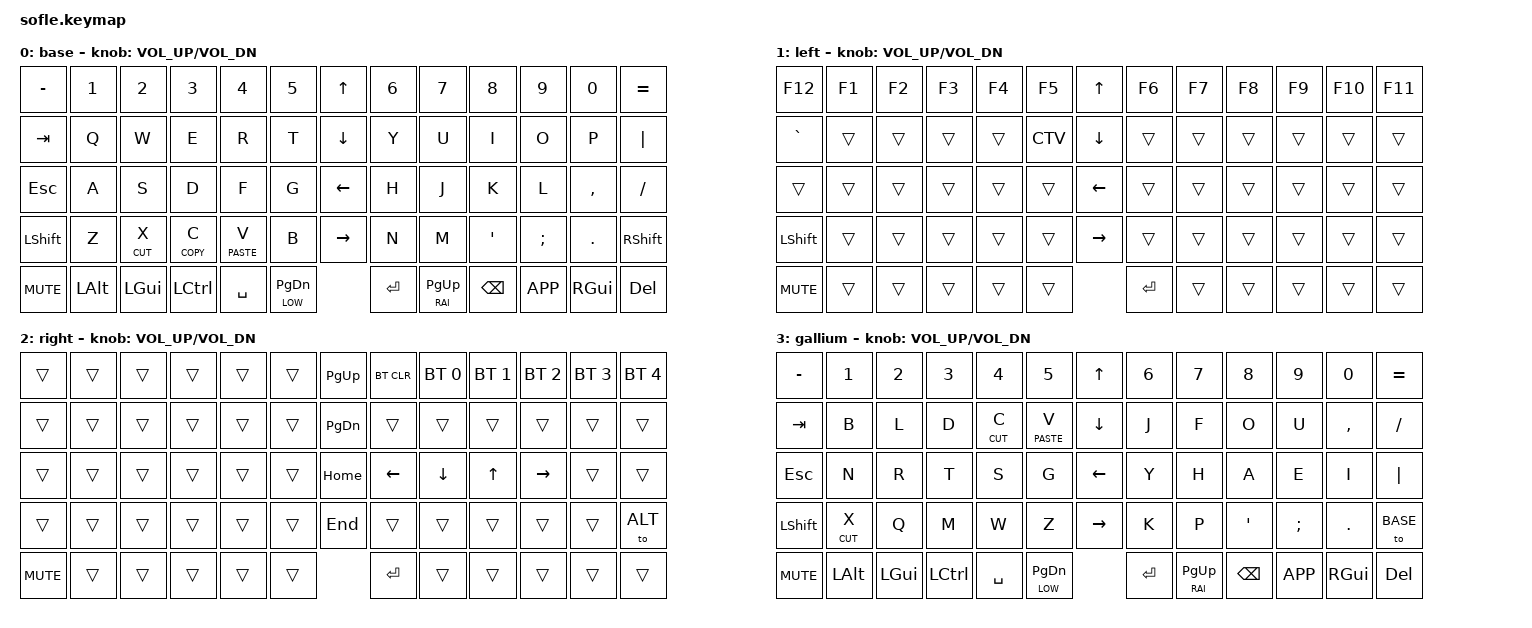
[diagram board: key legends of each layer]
#include <behaviors.dtsi>
#include <dt-bindings/zmk/bt.h>
#include <dt-bindings/zmk/keys.h>
#include <dt-bindings/zmk/outputs.h>
#include <dt-bindings/zmk/rgb.h>


#define BASE 0
#define LOW 1
#define RAI 2
#define ALT 3
/ {
    macros {
        CTV: m_copy_newTab_paste {
            compatible = "zmk,behavior-macro";
            #binding-cells = <0>;
            bindings 
                = <&macro_press &kp LCTRL>
                , <&macro_tap &kp C &kp T &kp V>
                , <&macro_release &kp LCTRL>
                ;

            label = "CTV";
        };
        //Removed because firmware couldn't build, and discovered the editing keycodes in the docs.
        // Adjust to LG() for macOS
        //m_Cut: m_Cut {
        //    compatible = "zmk,behavior-macro";
        //    #binding-cells = <0>;
        //    bindings = <&kp LC(X)>;
        //};
        //m_Copy: m_Copy {
        //    compatible = "zmk,behavior-macro";
        //    #binding-cells = <0>;
        //    bindings = <&kp LC(C)>;
        //};
        //m_Paste: m_Paste {
        //    compatible = "zmk,behavior-macro";
        //    #binding-cells = <0>;
        //    bindings = <&kp LC(V)>;
        //};
    };

    behaviors {
        //Removed because firmware couldn't build, and discovered the editing keycodes in the docs.
        //XHT: b_cut_hold_tap {
        //    compatible = "zmk,behavior-hold-tap";
        //    #binding-cells = <2>;
        //    flavor = "tap-preferred"; // or "balanced"
        //    tapping-term-ms = <200>;
        //    bindings = <&m_Cut>, <&kp>;
        //};
        //CHT: b_copy_hold_tap {
        //    compatible = "zmk,behavior-hold-tap";
        //    #binding-cells = <2>;
        //    flavor = "tap-preferred"; // or "balanced"
        //    tapping-term-ms = <200>;
        //    bindings = <&m_Copy>, <&kp>;
        //};
        //VHT: b_paste_hold_tap {
        //    compatible = "zmk,behavior-hold-tap";
        //    #binding-cells = <2>;
        //    flavor = "tap-preferred"; // or "balanced"
        //    tapping-term-ms = <200>;
        //    bindings = <&m_Paste>, <&kp>;
        //};
    };

    keymap {
        compatible = "zmk,keymap";

        default_layer {
            display-name = "base";
            bindings = <
        //╭──────────┬──────────┬──────────┬──────────┬──────────┬──────────╮               ╭JOY─╮               ╭──────────┬──────────┬──────────┬──────────┬──────────┬──────────╮
        //│  -       │  1       │  2       │  3       │  4       │  5       │               │ UA │               │  6       │  7       │  8       │  9       │  0       │  =       │
            &kp MINUS  &kp N1     &kp N2     &kp N3     &kp N4     &kp N5                &kp UP_ARROW              &kp N6     &kp N7     &kp N8     &kp N9     &kp N0     &kp EQUAL
        //├──────────┼──────────┼──────────┼──────────┼──────────┼──────────┤               ├────┤               ├──────────┼──────────┼──────────┼──────────┼──────────┼──────────┤
        //│ TAB      │  Q       │  w       │  E       │  R       │  T       │               │ DA │               │  Y       │  U       │  I       │  O       │  P       │  |       │
            &kp TAB    &kp Q      &kp W      &kp E      &kp R      &kp T                &kp DOWN_ARROW             &kp Y      &kp U      &kp I      &kp O      &kp P      &kp PIPE
        //├──────────┼──────────┼──────────┼──────────┼──────────┼──────────┤               ├────┤               ├──────────┼──────────┼──────────┼──────────┼──────────┼──────────┤
        //│  ESC     │  A       │  S       │  D       │  F       │  G       │               │ LA │               │  H       │  J       │  K       │  L       │ , <      │ / ?      │
            &kp ESC    &kp A      &kp S      &kp D      &kp F      &kp G                &kp LEFT_ARROW             &kp H      &kp J      &kp K      &kp L      &kp COMMA  &kp FSLH
        //├──────────┼──────────┼──────────┼──────────┼──────────┼──────────┤               ├────┤               ├──────────┼──────────┼──────────┼──────────┼──────────┼──────────┤
        //│ SHIFT    │  Z       │  X       │  C       │  V       │  B       │               │ RA │               │  N       │  M       │ ' "      │ ; :      │ . >      │ SHIFT    │
           &kp LSHIFT  &kp Z    &mt K_CUT X &mt K_COPY C &mt K_PASTE V &kp B            &kp RIGHT_ARROW            &kp N      &kp M      &kp SQT    &kp SEMI   &kp DOT    &kp RSHFT
        //╰──────────┴──────────┼──────────┼──────────┼──────────┼──────────┼──────────╮    ├────┤    ╭──────────┼──────────┼──────────┼──────────┼──────────┼──────────┴──────────╯
        //╭ENCDR_BTN╮           │  LALT    │  LGUI    │  LCTRL   │  SPC     │  PG_DN/L │    │BTN │    │  PG_UP/R │  BSPC    │  Menu    │  RGUI    │  DEL     │
           &kp C_MUTE             &kp LALT   &kp LGUI  &kp LCTRL  &kp SPACE  &lt LOW PG_DN &kp ENTER   &lt RAI PG_UP &kp BSPC &kp K_APP  &kp RGUI   &kp DEL
        //╰─────────╯           ╰──────────┴──────────┴──────────┴──────────┴──────────╯    ╰────╯    ╰──────────┴──────────┴──────────┴──────────┴──────────╯
            >;

            sensor-bindings = <&inc_dec_kp C_VOL_UP C_VOL_DN>;
        };

        lower_layer {
            display-name = "left";
            bindings = <
        //╭──────────┬──────────┬──────────┬──────────┬──────────┬──────────╮               ╭JOY─╮               ╭──────────┬──────────┬──────────┬──────────┬──────────┬──────────╮
        //│  F12     │  F1      │  F2      │  F3      │  F4      │  F5      │               │ UA │               │  F6      │  F7      │  F8      │  F9      │  F10     │  F11
            &kp F12    &kp F1     &kp F2     &kp F3     &kp F4     &kp F5                &kp UP_ARROW              &kp F6     &kp F7     &kp F8     &kp F9     &kp F10    &kp F11     
        //├──────────┼──────────┼──────────┼──────────┼──────────┼──────────┤               ├────┤               ├──────────┼──────────┼──────────┼──────────┼──────────┼──────────┤
        //│  ` ~     │          │          │          │          │ CTV      │               │ DA │               │          │          │          │          │          │          │
            &kp GRAVE  &trans     &trans     &trans     &trans     &CTV                 &kp DOWN_ARROW             &trans     &trans     &trans     &trans     &trans     &trans
        //├──────────┼──────────┼──────────┼──────────┼──────────┼──────────┤               ├────┤               ├──────────┼──────────┼──────────┼──────────┼──────────┼──────────┤
        //│          │          │          │          │          │          │               │ LA │               │          │          │          │          │          │          │
            &trans     &trans     &trans     &trans     &trans     &trans               &kp LEFT_ARROW             &trans     &trans     &trans     &trans     &trans     &trans
        //├──────────┼──────────┼──────────┼──────────┼──────────┼──────────┤               ├────┤               ├──────────┼──────────┼──────────┼──────────┼──────────┼──────────┤
        //│ SHIFT    │          │          │          │          │          │               │ RA │               │          │          │          │          │          │          │
            &kp LSHFT  &trans     &trans     &trans     &trans     &trans               &kp RIGHT_ARROW            &trans     &trans     &trans     &trans     &trans     &trans
        //╰──────────┴──────────┼──────────┼──────────┼──────────┼──────────┼──────────╮    ├────┤    ╭──────────┼──────────┼──────────┼──────────┼──────────┼──────────┴──────────╯
        //╭ENCDR_BTN╮           │          │          │          │          │ [ORIGIN] │    │BTN │    │          │          │          │          │          │
           &kp C_MUTE             &trans     &trans     &trans     &trans     &trans      &kp ENTER     &trans     &trans     &trans     &trans     &trans
        //╰─────────╯           ╰──────────┴──────────┴──────────┴──────────┴──────────╯    ╰────╯    ╰──────────┴──────────┴──────────┴──────────┴──────────╯
            >;

            sensor-bindings = <&inc_dec_kp C_VOL_UP C_VOL_DN>;
        };

        raise_layer {
            display-name = "right";
            bindings = <
        //╭──────────┬──────────┬──────────┬──────────┬──────────┬──────────╮               ╭JOY─╮               ╭──────────┬──────────┬──────────┬──────────┬──────────┬──────────╮
        //│          │          │          │          │          │          │               │ UA │               │  BT_CLR  │ BT_SEL 0 │ BT_SEL 1 │ BT_SEL 2 │ BT_SEL 3 │ BT_SEL 4 │
            &trans     &trans     &trans     &trans     &trans     &trans                  &kp PG_UP            &bt BT_CLR &bt BT_SEL 0 &bt BT_SEL 1 &bt BT_SEL 2 &bt BT_SEL 3 &bt BT_SEL 4     
        //├──────────┼──────────┼──────────┼──────────┼──────────┼──────────┤               ├────┤               ├──────────┼──────────┼──────────┼──────────┼──────────┼──────────┤
        //│          │          │          │          │          │          │               │ DA │               │          │          │          │          │          │          │
            &trans     &trans     &trans     &trans     &trans     &trans                  &kp PG_DN               &trans     &trans     &trans     &trans     &trans     &trans
        //├──────────┼──────────┼──────────┼──────────┼──────────┼──────────┤               ├────┤               ├──────────┼──────────┼──────────┼──────────┼──────────┼──────────┤
        //│          │          │          │          │          │          │               │ LA │               │  LEFT    │  DOWN    │  UP      │  RIGHT   │          │          │
            &trans     &trans     &trans     &trans     &trans     &trans                  &kp HOME                &kp LEFT   &kp DOWN   &kp UP     &kp RIGHT  &trans     &trans
        //├──────────┼──────────┼──────────┼──────────┼──────────┼──────────┤               ├────┤               ├──────────┼──────────┼──────────┼──────────┼──────────┼──────────┤
        //│          │          │          │          │          │          │               │ RA │               │          │          │          │          │          │  ALT     │
            &trans     &trans     &trans     &trans     &trans     &trans                   &kp END                &trans     &trans     &trans     &trans     &trans     &to ALT
        //╰──────────┴──────────┼──────────┼──────────┼──────────┼──────────┼──────────╮    ├────┤    ╭──────────┼──────────┼──────────┼──────────┼──────────┼──────────┴──────────╯
        //╭ENCDR_BTN╮           │          │          │          │          │          │    │BTN │    │ [ORIGIN] │          │          │          │          │
           &kp C_MUTE             &trans     &trans     &trans     &trans     &trans      &kp ENTER     &trans     &trans     &trans     &trans     &trans
        //╰─────────╯           ╰──────────┴──────────┴──────────┴──────────┴──────────╯    ╰────╯    ╰──────────┴──────────┴──────────┴──────────┴──────────╯
            >;

            sensor-bindings = <&inc_dec_kp C_VOL_UP C_VOL_DN>;
        };

        alt_layer {
            display-name = "gallium";
            bindings = <
        //╭──────────┬──────────┬──────────┬──────────┬──────────┬──────────╮               ╭JOY─╮               ╭──────────┬──────────┬──────────┬──────────┬──────────┬──────────╮
        //│  -       │  1       │  2       │  3       │  4       │  5       │               │ UA │               │  6       │  7       │  8       │  9       │  0       │  =       │
            &kp MINUS  &kp N1     &kp N2     &kp N3     &kp N4     &kp N5                &kp UP_ARROW              &kp N6     &kp N7     &kp N8     &kp N9     &kp N0     &kp EQUAL
        //├──────────┼──────────┼──────────┼──────────┼──────────┼──────────┤               ├────┤               ├──────────┼──────────┼──────────┼──────────┼──────────┼──────────┤
        //│ TAB      │  B       │  L       │  D       │  C       │  V       │               │ DA │               │  J       │  F       │  O       │  U       │  , <     │  / ?     │
            &kp TAB    &kp B      &kp L      &kp D    &mt K_CUT C &mt K_PASTE V         &kp DOWN_ARROW             &kp J      &kp F      &kp O      &kp U      &kp COMMA  &kp FSLH
        //├──────────┼──────────┼──────────┼──────────┼──────────┼──────────┤               ├────┤               ├──────────┼──────────┼──────────┼──────────┼──────────┼──────────┤
        //│  ESC     │  N       │  R       │  T       │  S       │  G       │               │ LA │               │  Y       │  H       │  A       │  E       │  I       │ \ |      │
            &kp ESC    &kp N     &kp R       &kp T      &kp S      &kp G                &kp LEFT_ARROW             &kp Y      &kp H      &kp A      &kp E      &kp I      &kp PIPE
        //├──────────┼──────────┼──────────┼──────────┼──────────┼──────────┤               ├────┤               ├──────────┼──────────┼──────────┼──────────┼──────────┼──────────┤
        //│ SHIFT    │  X       │  Q       │  M       │  W       │  Z       │               │ RA │               │  K       │  P       │ ' "      │ ; :      │ . >      │  BASE    │
           &kp LSHIFT &mt K_CUT X &kp Q      &kp M      &kp W      &kp Z                &kp RIGHT_ARROW            &kp K      &kp P      &kp SQT    &kp SEMI   &kp DOT    &to BASE
        //╰──────────┴──────────┼──────────┼──────────┼──────────┼──────────┼──────────╮    ├────┤    ╭──────────┼──────────┼──────────┼──────────┼──────────┼──────────┴──────────╯
        //╭ENCDR_BTN╮           │  LALT    │  LGUI    │  LCTRL   │ SPC/LOWER│  PG_DN   │    │BTN │    │  PG_UP   │BACKSPACE │  Menu    │  RGUI    │  DEL     │
           &kp C_MUTE             &kp LALT   &kp LGUI  &kp LCTRL  &kp SPACE  &lt LOW PG_DN &kp ENTER   &lt RAI PG_UP &kp BSPC &kp K_APP  &kp RGUI   &kp DEL
        //╰─────────╯           ╰──────────┴──────────┴──────────┴──────────┴──────────╯    ╰────╯    ╰──────────┴──────────┴──────────┴──────────┴──────────╯
            >;

            sensor-bindings = <&inc_dec_kp C_VOL_UP C_VOL_DN>;
        };
    };
};
